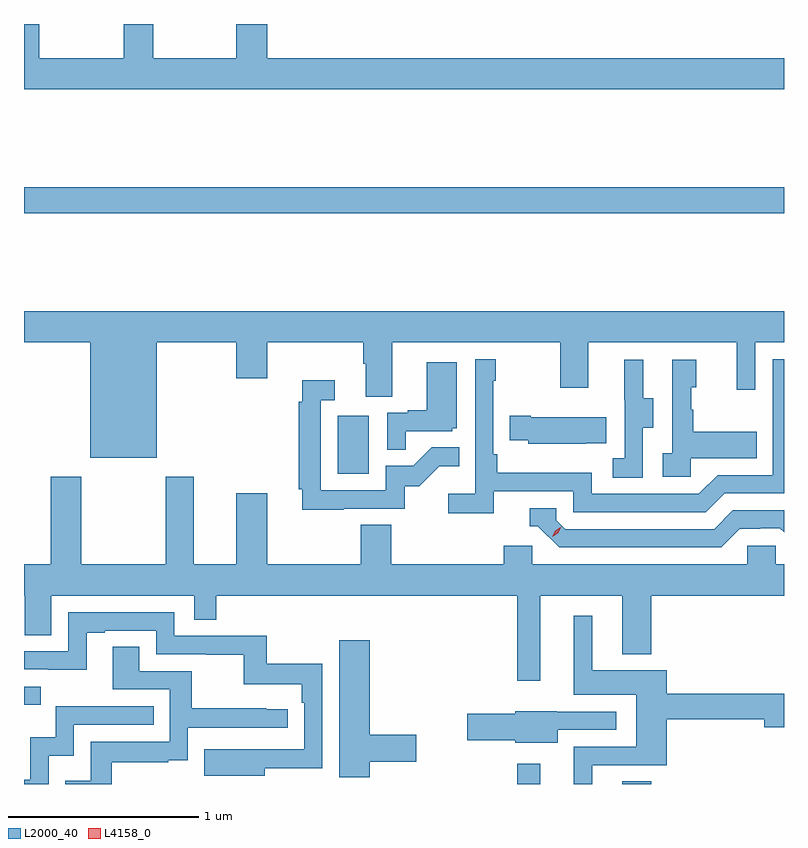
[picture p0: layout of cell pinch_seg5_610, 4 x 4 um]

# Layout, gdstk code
import gdstk
lib = gdstk.Library(unit=1e-6, precision=1e-09)
def R(c, l, rs):  # rectangles x0, y0, x1, y1
    for r in rs: c.add(gdstk.rectangle(r[:2], r[2:], *l))
def P(c, l, *ps):  # polygons
    for p in ps: c.add(gdstk.Polygon(p, *l))
L2000_40 = (2000, 40)
L4158_0 = (4158, 0)

pinch_seg5_610 = lib.new_cell('pinch_seg5_610')
R(pinch_seg5_610, L2000_40, [(1029.624,865.092,1029.745,865.198), (1030.175,865.092,1030.328,865.106), (1027.027,865.508,1027.114,865.605), (1028.678,866.724,1028.842,867.031), (1027.027,868.096,1031.027,868.232)])
P(pinch_seg5_610, L2000_40, [(1031.027,868.912),(1028.308,868.912),(1028.308,869.092),(1028.144,869.092),(1028.144,868.912),(1027.707,868.912),(1027.707,869.092),(1027.552,869.092),(1027.552,868.912),(1027.107,868.912),(1027.107,869.092),(1027.027,869.092),(1027.027,868.748),(1031.027,868.748)],
  [(1027.726,867.416),(1028.144,867.416),(1028.144,867.228),(1028.308,867.228),(1028.308,867.416),(1028.813,867.416),(1028.813,867.304),(1028.825,867.304),(1028.825,867.13),(1028.965,867.13),(1028.965,867.416),(1029.85,867.416),(1029.85,867.177),(1029.997,867.177),(1029.997,867.416),(1030.778,867.416),(1030.778,867.168),(1030.875,867.168),(1030.875,867.416),(1031.027,867.416),(1031.027,867.58),(1027.027,867.58),(1027.027,867.416),(1027.376,867.416),(1027.376,866.81),(1027.726,866.81)],
  [(1029.5,866.634),(1029.918,866.634),(1029.918,866.523),(1030.615,866.523),(1030.714,866.622),(1031.027,866.622),(1031.027,867.327),(1030.968,867.327),(1030.968,866.718),(1030.677,866.718),(1030.578,866.619),(1030.014,866.619),(1030.014,866.731),(1029.518,866.731),(1029.518,866.827),(1029.498,866.827),(1029.498,867.215),(1029.511,867.215),(1029.511,867.328),(1029.402,867.328),(1029.402,866.62),(1029.261,866.62),(1029.261,866.518),(1029.5,866.518)],
  [(1030.536,866.807),(1030.883,866.807),(1030.883,866.947),(1030.549,866.947),(1030.549,867.062),(1030.539,867.062),(1030.539,867.18),(1030.564,867.18),(1030.564,867.325),(1030.44,867.325),(1030.44,866.834),(1030.389,866.834),(1030.389,866.709),(1030.536,866.709)],
  [(1030.284,866.968),(1030.339,866.968),(1030.339,867.123),(1030.285,867.123),(1030.285,867.325),(1030.187,867.325),(1030.187,867.111),(1030.188,867.111),(1030.188,866.807),(1030.125,866.807),(1030.125,866.704),(1030.284,866.704)],
  [(1029.035,866.949),(1029.282,866.949),(1029.282,866.964),(1029.304,866.964),(1029.304,867.313),(1029.146,867.313),(1029.146,867.058),(1029.047,867.058),(1029.047,867.045),(1028.94,867.045),(1028.94,866.851),(1029.035,866.851)],
  [(1028.711,866.541),(1029.03,866.541),(1029.03,866.658),(1029.106,866.658),(1029.213,866.765),(1029.317,866.765),(1029.317,866.864),(1029.173,866.864),(1029.075,866.766),(1028.931,866.766),(1028.931,866.637),(1028.589,866.637),(1028.589,867.111),(1028.662,867.111),(1028.662,867.217),(1028.492,867.217),(1028.492,867.104),(1028.473,867.104),(1028.473,866.644),(1028.492,866.644),(1028.492,866.536),(1028.711,866.536)],
  [(1029.983,866.885),(1030.091,866.885),(1030.091,867.022),(1029.694,867.022),(1029.694,867.03),(1029.583,867.03),(1029.583,866.9),(1029.681,866.9),(1029.681,866.882),(1029.983,866.882)],
  [(1029.745,866.084),(1030.175,866.084),(1030.175,865.775),(1030.328,865.775),(1030.328,866.084),(1031.027,866.084),(1031.027,866.248),(1030.983,866.248),(1030.983,866.346),(1030.833,866.346),(1030.833,866.248),(1029.702,866.248),(1029.702,866.346),(1029.551,866.346),(1029.551,866.248),(1028.96,866.248),(1028.96,866.456),(1028.8,866.456),(1028.8,866.248),(1028.308,866.248),(1028.308,866.623),(1028.144,866.623),(1028.144,866.248),(1027.921,866.248),(1027.921,866.71),(1027.774,866.71),(1027.774,866.248),(1027.329,866.248),(1027.329,866.71),(1027.169,866.71),(1027.169,866.248),(1027.027,866.248),(1027.027,866.084),(1027.032,866.084),(1027.032,865.876),(1027.171,865.876),(1027.171,866.084),(1027.923,866.084),(1027.923,865.957),(1028.039,865.957),(1028.039,866.084),(1029.624,866.084),(1029.624,865.635),(1029.745,865.635)],
  [(1030.795,866.436),(1030.902,866.436),(1030.902,866.439),(1031.005,866.439),(1031.027,866.417),(1031.027,866.532),(1030.758,866.532),(1030.659,866.433),(1029.876,866.433),(1029.828,866.481),(1029.828,866.544),(1029.689,866.544),(1029.689,866.448),(1029.732,866.448),(1029.843,866.337),(1030.696,866.337)],
  [(1028.293,865.174),(1028.598,865.174),(1028.598,865.726),(1028.305,865.726),(1028.305,865.872),(1027.818,865.872),(1027.818,865.995),(1027.26,865.995),(1027.26,865.791),(1027.027,865.791),(1027.027,865.695),(1027.152,865.695),(1027.152,865.694),(1027.357,865.694),(1027.357,865.887),(1027.453,865.887),(1027.453,865.899),(1027.722,865.899),(1027.722,865.776),(1027.987,865.776),(1027.987,865.771),(1028.184,865.771),(1028.184,865.616),(1028.489,865.616),(1028.489,865.52),(1028.502,865.52),(1028.502,865.275),(1028.189,865.275),(1028.189,865.276),(1027.975,865.276),(1027.975,865.136),(1028.293,865.136)],
  [(1030.018,865.191),(1030.409,865.191),(1030.409,865.432),(1030.922,865.432),(1030.922,865.39),(1031.027,865.39),(1031.027,865.568),(1030.409,865.568),(1030.409,865.69),(1030.018,865.69),(1030.018,865.978),(1029.92,865.978),(1029.92,865.562),(1030.25,865.562),(1030.25,865.287),(1029.92,865.287),(1029.92,865.092),(1030.018,865.092)],
  [(1028.848,865.21),(1029.091,865.21),(1029.091,865.352),(1028.848,865.352),(1028.848,865.849),(1028.687,865.849),(1028.687,865.128),(1028.848,865.128)],
  [(1027.489,865.206),(1027.787,865.206),(1027.787,865.217),(1027.89,865.217),(1027.89,865.389),(1028.416,865.389),(1028.416,865.485),(1028.303,865.485),(1028.303,865.49),(1027.91,865.49),(1027.91,865.686),(1027.633,865.686),(1027.633,865.814),(1027.493,865.814),(1027.493,865.59),(1027.794,865.59),(1027.794,865.314),(1027.378,865.314),(1027.378,865.108),(1027.243,865.108),(1027.243,865.092),(1027.489,865.092)],
  [(1027.158,865.241),(1027.29,865.241),(1027.29,865.404),(1027.709,865.404),(1027.709,865.5),(1027.194,865.5),(1027.194,865.339),(1027.061,865.339),(1027.061,865.114),(1027.027,865.114),(1027.027,865.092),(1027.158,865.092)],
  [(1029.835,865.377),(1030.144,865.377),(1030.144,865.473),(1029.831,865.473),(1029.831,865.474),(1029.612,865.474),(1029.612,865.463),(1029.36,865.463),(1029.36,865.321),(1029.612,865.321),(1029.612,865.31),(1029.835,865.31)])
P(pinch_seg5_610, L4158_0, [(1029.806,866.394),(1029.806,866.394),(1029.822,866.426),(1029.854,866.445),(1029.854,866.445),(1029.854,866.445),(1029.837,866.413),(1029.806,866.394)])

lib.write_gds('pinch_seg5_610.gds')
